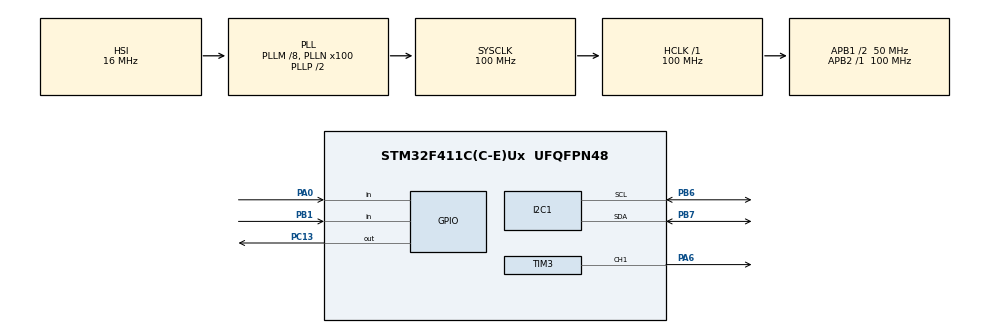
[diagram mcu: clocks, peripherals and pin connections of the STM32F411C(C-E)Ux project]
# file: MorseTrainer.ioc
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I2C1.I2C_Mode=I2C_Fast
Mcu.Family=STM32F4
Mcu.Name=STM32F411C(C-E)Ux
Mcu.Package=UFQFPN48
NVIC.PriorityGroup=NVIC_PRIORITYGROUP_4
NVIC.TIM2_IRQn=true\:0\:0\:false\:false\:true\:true\:true\:true
PA0-WKUP.GPIO_PuPd=GPIO_PULLUP
PA0-WKUP.Signal=GPIO_Input
PA13.Mode=Serial_Wire
PA13.Signal=SYS_JTMS-SWDIO
PA14.Mode=Serial_Wire
PA14.Signal=SYS_JTCK-SWCLK
PA6.Signal=S_TIM3_CH1
PB1.GPIO_PuPd=GPIO_PULLDOWN
PB1.Signal=GPIO_Input
PB6.Mode=I2C
PB6.Signal=I2C1_SCL
PB7.Mode=I2C
PB7.Signal=I2C1_SDA
PC13-ANTI_TAMP.Signal=GPIO_Output
PH0\ -\ OSC_IN.Mode=HSE-External-Oscillator
PH0\ -\ OSC_IN.Signal=RCC_OSC_IN
PH1\ -\ OSC_OUT.Mode=HSE-External-Oscillator
PH1\ -\ OSC_OUT.Signal=RCC_OSC_OUT
ProjectManager.HeapSize=0x200
ProjectManager.StackSize=0x400
ProjectManager.TargetToolchain=STM32CubeIDE
RCC.48MHZClocksFreq_Value=50000000
RCC.AHBFreq_Value=100000000
RCC.APB1CLKDivider=RCC_HCLK_DIV2
RCC.APB1Freq_Value=50000000
RCC.APB1TimFreq_Value=100000000
RCC.APB2Freq_Value=100000000
RCC.APB2TimFreq_Value=100000000
RCC.CortexFreq_Value=100000000
RCC.HCLKFreq_Value=100000000
RCC.HSE_VALUE=25000000
RCC.HSI_VALUE=16000000
RCC.LSE_VALUE=32768
RCC.PLLM=8
RCC.PLLN=100
RCC.SYSCLKFreq_VALUE=100000000
RCC.SYSCLKSource=RCC_SYSCLKSOURCE_PLLCLK
RCC.VCOOutputFreq_Value=200000000
SH.S_TIM3_CH1.0=TIM3_CH1,PWM Generation1 CH1
TIM2.Period=999
TIM2.Prescaler=99
TIM3.AutoReloadPreload=TIM_AUTORELOAD_PRELOAD_ENABLE
TIM3.Channel-PWM\ Generation1\ CH1=TIM_CHANNEL_1
TIM3.Period=1427
TIM3.Prescaler=99
TIM3.Pulse-PWM\ Generation1\ CH1=714
VP_TIM2_VS_ClockSourceINT.Mode=Internal
VP_TIM3_VS_ClockSourceINT.Mode=Internal
board=custom

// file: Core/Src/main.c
/* USER CODE BEGIN Header */
/**
  ******************************************************************************
  * @file           : main.c
  * @brief          : Main program body
  ******************************************************************************
  * @attention
  *
  * Copyright (c) 2026 STMicroelectronics.
  * All rights reserved.
  *
  * This software is licensed under terms that can be found in the LICENSE file
  * in the root directory of this software component.
  * If no LICENSE file comes with this software, it is provided AS-IS.
  *
  ******************************************************************************
  */
/* USER CODE END Header */
#include "main.h"

/* USER CODE BEGIN Includes */
#include "SSD1306.h"
#include "MORSE.h"
#include <stdio.h>
#include <stdlib.h>
#include <string.h>
/* USER CODE END Includes */

/* USER CODE BEGIN PTD */
typedef enum { MENU, APRENDER, IDENTIFICAR, GRUPOS, LIBRE, ESTADISTICAS } Modo;
typedef enum { SONANDO, RESPUESTA, PAUSA } Paso;
typedef enum
{
  OPC_APRENDER, OPC_IDENTIFICAR, OPC_GRUPOS, OPC_REPASO, OPC_LIBRE, OPC_ESTADISTICAS, OPC_NIVEL, OPC_WPM, OPC_FARNSWORTH,
  OPC_TONO, OPC_PATRON, OPCIONES
} Opcion;

typedef struct
{
  uint8_t estable;   /* 1 = pulsado */
  uint8_t cuenta;    /* Muestras seguidas distintas de 'estable' */
} Entrada;
/* USER CODE END PTD */

/* USER CODE BEGIN PD */
#define KEY_PORT        GPIOB
#define KEY_PIN         GPIO_PIN_1      /* Manipulador a 3V3 con pull-down, activo en alto */
#define MENU_PORT       GPIOA
#define MENU_PIN        GPIO_PIN_0      /* Botón KEY de la Black Pill, a GND con pull-up, activo en bajo */
#define LED_PORT        GPIOC
#define LED_PIN         GPIO_PIN_13     /* LED de la Black Pill, activo en bajo */
#define ANTIRREBOTE_MS  5U              /* Muestras iguales seguidas para aceptar un cambio */
#define PRUEBA_TONO_MS  300U            /* Bip de arranque para comprobar la frecuencia */
/* Ajustables desde el menú; estos son los valores al encender. Cada letra manipulada
   sobre la opción avanza un paso y al pasar del máximo vuelve al mínimo. */
#define WPM_CARACTER    18U             /* Velocidad de los símbolos: 12..30, de 2 en 2 */
#define WPM_EFECTIVO    8U              /* Farnsworth en el nivel 2 (llega a la de carácter en
                                           el 36): 4..carácter, de 2 en 2 */
#define TONO_HZ         700U            /* 400..1000 Hz, de 100 en 100 */
#define BIP_MS          60U             /* Bip de acierto, al doble de la frecuencia del tono */
#define PAUSA_MS        800U            /* Silencio antes del siguiente carácter */
#define LATENCIA_MAX_MS 2000U           /* Más hasta la primera pulsación = no reconocido */
#define ESPERA_MAX_MS   6000U           /* Sin pulsar en este tiempo = sin respuesta */
#define SESION_MS       (15UL * 60UL * 1000UL)  /* Duración recomendada de la sesión */
#define AVISO_MS        500U            /* Bip largo de fin de sesión */
#define GRUPO_LARGO     5U              /* Caracteres por grupo (práctica clásica de Koch) */
#define FILAS_MENU      6U              /* Opciones visibles; el resto se desplaza */
#define LIBRE_COLUMNAS  18U             /* Font_7x10 en 128 px */
#define LIBRE_FILAS     4U

/* USER CODE END PD */

I2C_HandleTypeDef hi2c1;

TIM_HandleTypeDef htim2;
TIM_HandleTypeDef htim3;

/* USER CODE BEGIN PV */
/* -- Avanzados en la ISR de TIM2; el bucle principal solo los toca con la IRQ parada -- */
static MORSE_Reproductor_t   reproductor;
static MORSE_Decodificador_t decodificador;
static volatile char       recibido = 0;    /* Último carácter decodificado; 0 = ya leído */
static volatile uint8_t    menu_pulsado = 0;  /* Se pulsó el botón de menú; 0 = ya leído */
static volatile uint16_t   bip_ms = 0;      /* Lo que queda del bip de acierto */
static volatile uint32_t   pulsado_en = 0;  /* HAL_GetTick() de la primera pulsación; 0 = ninguna */
static volatile uint16_t   tono_arr = (uint16_t)(1000000UL / TONO_HZ - 1U);  /* ARR del tono */

/* -- Solo bucle principal -- */
static MORSE_Tiempos_t tiempos;
static MORSE_KochProgreso_t koch;
static uint8_t  wpm_caracter = WPM_CARACTER;
static uint8_t  wpm_efectivo = WPM_EFECTIVO;  /* Nunca mayor que wpm_caracter */
static uint16_t tono_hz      = TONO_HZ;
static Modo     modo = MENU;
static Opcion   opcion = OPC_APRENDER;      /* Resaltada en el menú */
static uint8_t  mostrar_patron = 1;         /* Patrón al presentar y al fallar */
static Paso     paso;
static Paso     tras_sonar;                 /* RESPUESTA o PAUSA al acabar de sonar */
static uint32_t pausa_desde;
static char     actual;                     /* Carácter que se espera como respuesta */
static uint8_t  siguiente;                  /* Aprender: índice en MORSE_KochOrden del próximo */
static uint8_t  presentar;                  /* Identificar: presentar el recién desbloqueado */
static uint8_t  repaso;                     /* Identificar solo entre fallados y confundidos */
static char     repasar[MORSE_SESION_REPASO_MAX + 1U];  /* Repaso: caracteres de la última elección */
static char     sonido[GRUPO_LARGO + 1U];   /* Lo que suena; debe vivir hasta que acabe.
                                               En Grupos es también el grupo que se espera */
static char     respuesta[GRUPO_LARGO + 1U];  /* Grupos: lo manipulado hasta ahora */
static uint8_t  n_respuesta;
static uint32_t ultima_en;                  /* Grupos: última letra (o fin de la reproducción) */
static char     libre[LIBRE_COLUMNAS * LIBRE_FILAS + 1U];  /* Libre: texto decodificado */
static char     tu[12];                     /* "Tu: " + patrón manipulado, o "N/5 bien" */
static uint32_t escucha_desde;              /* Fin de la reproducción: origen de la latencia */
static MORSE_Sesion_t   sesion;
static uint32_t sesion_desde;               /* Primera lección; 0 = sin empezar */
static uint8_t  sesion_avisada;
static uint8_t  fin_sesion;                 /* Estadísticas abiertas por el temporizador */
/* -- Pantalla -- */
static char        grande;                  /* Carácter en grande; 0 = ninguno */
static uint8_t     ver_patron;
static const char *estado = "";             /* Línea inferior */
static const char *aviso  = NULL;           /* Indicación de ritmo de la última respuesta */
static uint8_t     redibujar = 1;

/* USER CODE END PV */

void SystemClock_Config(void);
static void MX_GPIO_Init(void);
static void MX_I2C1_Init(void);
static void MX_TIM2_Init(void);
static void MX_TIM3_Init(void);
/* USER CODE BEGIN PFP */
static void Tono(uint16_t arr);
static uint8_t Antirrebote(Entrada *e, uint8_t crudo);
static void AjustarVelocidad(void);
static void Reiniciar(const char *texto);
static void Sonar(Paso despues);
static void Escuchar(void);
static void Pausa(void);
static void Preguntar(void);
static void Responder(char c);
static void Copiar(char c);
static void Anotar(char c);
static void ElegirOpcion(void);
static void DibujarEstadisticas(void);
static void Dibujar(void);

/* USER CODE END PFP */

int main(void)
{

  /* MCU Configuration--------------------------------------------------------*/

  /* Reset of all peripherals, Initializes the Flash interface and the Systick. */
  HAL_Init();

  /* Configure the system clock */
  SystemClock_Config();

  /* Initialize all configured peripherals */
  MX_GPIO_Init();
  MX_I2C1_Init();
  MX_TIM2_Init();
  MX_TIM3_Init();
  /* USER CODE BEGIN 2 */
  HAL_GPIO_WritePin(LED_PORT, LED_PIN, GPIO_PIN_SET);

  /* -- PWM siempre en marcha; el tono se abre y cierra con el CCR -- */
  Tono(0);
  if (HAL_TIM_PWM_Start(&htim3, TIM_CHANNEL_1) != HAL_OK)
  {
    Error_Handler();
  }

  if (SSD1306_Init(&hi2c1, 128, 64) != SSD1306_OK)
  {
    Error_Handler();
  }

  /* -- Bip de arranque: medir aquí la frecuencia (700 Hz esperados) -- */
  Tono(tono_arr);
  HAL_Delay(PRUEBA_TONO_MS);
  Tono(0);

  /* -- Se inicializan antes del tick, así no hay carrera con la ISR --
     Se ignora el estado: solo falla con punteros NULL y estos son estáticos */
  (void)MORSE_KochInit(&koch, MORSE_KOCH_MINIMO);
  AjustarVelocidad();
  (void)MORSE_DecodInit(&decodificador, tiempos);
  (void)MORSE_Reproducir(&reproductor, "", tiempos);
  (void)MORSE_SesionInit(&sesion);

  /* -- Tick de 1 ms: antirrebote, tono, reproductor y decodificador -- */
  if (HAL_TIM_Base_Start_IT(&htim2) != HAL_OK)
  {
    Error_Handler();
  }
  /* USER CODE END 2 */

  /* Infinite loop */
  while (1)
  {

    /* USER CODE BEGIN 3 */
    /* -- Entre dos caracteres hay ≥ 2 puntos de silencio: sobra tiempo para leer -- */
    char c = recibido;
    if (c != 0)
    {
      recibido = 0;
    }
    uint8_t boton = menu_pulsado;
    if (boton)
    {
      menu_pulsado = 0;
    }

    if (modo == MENU)
    {
      if (boton)                            /* Botón: siguiente opción */
      {
        opcion = (Opcion)((opcion + 1U) % OPCIONES);
        redibujar = 1;
      }
      else if (c != 0 && c != ' ')          /* Cualquier letra manipulada: elegir */
      {
        ElegirOpcion();
      }
    }
    else if (boton)                         /* Botón fuera del menú: volver */
    {
      modo       = MENU;
      fin_sesion = 0;
      Reiniciar("");                        /* Corta lo que esté sonando */
      redibujar = 1;
    }
    else if (modo == ESTADISTICAS)
    {
      /* Pantalla fija: solo se sale con el botón */
    }
    else if (modo == LIBRE)
    {
      if (c != 0)
      {
        Anotar(c);
      }
    }
    else if (paso == SONANDO)
    {
      if (!MORSE_Reproduciendo(&reproductor))
      {
        if (tras_sonar == PAUSA)
        {
          Pausa();
        }
        else
        {
          Escuchar();
        }
      }
    }
    else if (paso == RESPUESTA)
    {
      if (modo == GRUPOS)
      {
        Copiar(c);
      }
      else if (c != 0 && c != ' ')
      {
        Responder(c);
      }
      else if (modo == IDENTIFICAR && pulsado_en == 0U &&
               HAL_GetTick() - escucha_desde >= ESPERA_MAX_MS)
      {
        Responder(0);                       /* Sin respuesta */
      }
    }
    else if (HAL_GetTick() - pausa_desde >= PAUSA_MS)
    {
      Preguntar();
    }

    /* -- Solo se redibuja al cambiar: UpdateScreen bloquea ~25 ms -- */
    if (redibujar)
    {
      redibujar = 0;
      Dibujar();
    }
  }
  /* USER CODE END 3 */
}

void SystemClock_Config(void)
{
  RCC_OscInitTypeDef RCC_OscInitStruct = {0};
  RCC_ClkInitTypeDef RCC_ClkInitStruct = {0};

  /** Configure the main internal regulator output voltage
  */
  __HAL_RCC_PWR_CLK_ENABLE();
  __HAL_PWR_VOLTAGESCALING_CONFIG(PWR_REGULATOR_VOLTAGE_SCALE1);

  /** Initializes the RCC Oscillators according to the specified parameters
  * in the RCC_OscInitTypeDef structure.
  */
  RCC_OscInitStruct.OscillatorType = RCC_OSCILLATORTYPE_HSI;
  RCC_OscInitStruct.HSIState = RCC_HSI_ON;
  RCC_OscInitStruct.HSICalibrationValue = RCC_HSICALIBRATION_DEFAULT;
  RCC_OscInitStruct.PLL.PLLState = RCC_PLL_ON;
  RCC_OscInitStruct.PLL.PLLSource = RCC_PLLSOURCE_HSI;
  RCC_OscInitStruct.PLL.PLLM = 8;
  RCC_OscInitStruct.PLL.PLLN = 100;
  RCC_OscInitStruct.PLL.PLLP = RCC_PLLP_DIV2;
  RCC_OscInitStruct.PLL.PLLQ = 4;
  if (HAL_RCC_OscConfig(&RCC_OscInitStruct) != HAL_OK)
  {
    Error_Handler();
  }

  /** Initializes the CPU, AHB and APB buses clocks
  */
  RCC_ClkInitStruct.ClockType = RCC_CLOCKTYPE_HCLK|RCC_CLOCKTYPE_SYSCLK
                              |RCC_CLOCKTYPE_PCLK1|RCC_CLOCKTYPE_PCLK2;
  RCC_ClkInitStruct.SYSCLKSource = RCC_SYSCLKSOURCE_PLLCLK;
  RCC_ClkInitStruct.AHBCLKDivider = RCC_SYSCLK_DIV1;
  RCC_ClkInitStruct.APB1CLKDivider = RCC_HCLK_DIV2;
  RCC_ClkInitStruct.APB2CLKDivider = RCC_HCLK_DIV1;

  if (HAL_RCC_ClockConfig(&RCC_ClkInitStruct, FLASH_LATENCY_3) != HAL_OK)
  {
    Error_Handler();
  }
}

static void MX_I2C1_Init(void)
{

  hi2c1.Instance = I2C1;
  hi2c1.Init.ClockSpeed = 400000;
  hi2c1.Init.DutyCycle = I2C_DUTYCYCLE_2;
  hi2c1.Init.OwnAddress1 = 0;
  hi2c1.Init.AddressingMode = I2C_ADDRESSINGMODE_7BIT;
  hi2c1.Init.DualAddressMode = I2C_DUALADDRESS_DISABLE;
  hi2c1.Init.OwnAddress2 = 0;
  hi2c1.Init.GeneralCallMode = I2C_GENERALCALL_DISABLE;
  hi2c1.Init.NoStretchMode = I2C_NOSTRETCH_DISABLE;
  if (HAL_I2C_Init(&hi2c1) != HAL_OK)
  {
    Error_Handler();
  }

}

static void MX_TIM2_Init(void)
{

  TIM_ClockConfigTypeDef sClockSourceConfig = {0};
  TIM_MasterConfigTypeDef sMasterConfig = {0};

  htim2.Instance = TIM2;
  htim2.Init.Prescaler = 99;
  htim2.Init.CounterMode = TIM_COUNTERMODE_UP;
  htim2.Init.Period = 999;
  htim2.Init.ClockDivision = TIM_CLOCKDIVISION_DIV1;
  htim2.Init.AutoReloadPreload = TIM_AUTORELOAD_PRELOAD_DISABLE;
  if (HAL_TIM_Base_Init(&htim2) != HAL_OK)
  {
    Error_Handler();
  }
  sClockSourceConfig.ClockSource = TIM_CLOCKSOURCE_INTERNAL;
  if (HAL_TIM_ConfigClockSource(&htim2, &sClockSourceConfig) != HAL_OK)
  {
    Error_Handler();
  }
  sMasterConfig.MasterOutputTrigger = TIM_TRGO_RESET;
  sMasterConfig.MasterSlaveMode = TIM_MASTERSLAVEMODE_DISABLE;
  if (HAL_TIMEx_MasterConfigSynchronization(&htim2, &sMasterConfig) != HAL_OK)
  {
    Error_Handler();
  }

}

static void MX_TIM3_Init(void)
{

  TIM_ClockConfigTypeDef sClockSourceConfig = {0};
  TIM_MasterConfigTypeDef sMasterConfig = {0};
  TIM_OC_InitTypeDef sConfigOC = {0};

  htim3.Instance = TIM3;
  htim3.Init.Prescaler = 99;
  htim3.Init.CounterMode = TIM_COUNTERMODE_UP;
  htim3.Init.Period = 1427;
  htim3.Init.ClockDivision = TIM_CLOCKDIVISION_DIV1;
  htim3.Init.AutoReloadPreload = TIM_AUTORELOAD_PRELOAD_ENABLE;
  if (HAL_TIM_Base_Init(&htim3) != HAL_OK)
  {
    Error_Handler();
  }
  sClockSourceConfig.ClockSource = TIM_CLOCKSOURCE_INTERNAL;
  if (HAL_TIM_ConfigClockSource(&htim3, &sClockSourceConfig) != HAL_OK)
  {
    Error_Handler();
  }
  if (HAL_TIM_PWM_Init(&htim3) != HAL_OK)
  {
    Error_Handler();
  }
  sMasterConfig.MasterOutputTrigger = TIM_TRGO_RESET;
  sMasterConfig.MasterSlaveMode = TIM_MASTERSLAVEMODE_DISABLE;
  if (HAL_TIMEx_MasterConfigSynchronization(&htim3, &sMasterConfig) != HAL_OK)
  {
    Error_Handler();
  }
  sConfigOC.OCMode = TIM_OCMODE_PWM1;
  sConfigOC.Pulse = 714;
  sConfigOC.OCPolarity = TIM_OCPOLARITY_HIGH;
  sConfigOC.OCFastMode = TIM_OCFAST_DISABLE;
  if (HAL_TIM_PWM_ConfigChannel(&htim3, &sConfigOC, TIM_CHANNEL_1) != HAL_OK)
  {
    Error_Handler();
  }
  HAL_TIM_MspPostInit(&htim3);

}

static void MX_GPIO_Init(void)
{
  GPIO_InitTypeDef GPIO_InitStruct = {0};

  /* GPIO Ports Clock Enable */
  __HAL_RCC_GPIOC_CLK_ENABLE();
  __HAL_RCC_GPIOH_CLK_ENABLE();
  __HAL_RCC_GPIOA_CLK_ENABLE();
  __HAL_RCC_GPIOB_CLK_ENABLE();

  /*Configure GPIO pin Output Level */
  HAL_GPIO_WritePin(GPIOC, GPIO_PIN_13, GPIO_PIN_RESET);

  /*Configure GPIO pin : PC13 */
  GPIO_InitStruct.Pin = GPIO_PIN_13;
  GPIO_InitStruct.Mode = GPIO_MODE_OUTPUT_PP;
  GPIO_InitStruct.Pull = GPIO_NOPULL;
  GPIO_InitStruct.Speed = GPIO_SPEED_FREQ_LOW;
  HAL_GPIO_Init(GPIOC, &GPIO_InitStruct);

  /*Configure GPIO pin : PA0 */
  GPIO_InitStruct.Pin = GPIO_PIN_0;
  GPIO_InitStruct.Mode = GPIO_MODE_INPUT;
  GPIO_InitStruct.Pull = GPIO_PULLUP;
  HAL_GPIO_Init(GPIOA, &GPIO_InitStruct);

  /*Configure GPIO pin : PB1 */
  GPIO_InitStruct.Pin = GPIO_PIN_1;
  GPIO_InitStruct.Mode = GPIO_MODE_INPUT;
  GPIO_InitStruct.Pull = GPIO_PULLDOWN;
  HAL_GPIO_Init(GPIOB, &GPIO_InitStruct);

}

/* USER CODE BEGIN 4 */
/**
 * @brief Tono del buzzer: arr = 0 lo silencia; si no, suena a f = 1 MHz / (arr + 1)
 *        con ciclo del 50 %. ARR y CCR tienen precarga, así que el cambio entra al
 *        acabar el periodo en curso, sin cortes. Seguro desde la ISR.
 *        La frecuencia del tono es tono_arr (ajustable en el menú): ARR = 1 000 000 / f - 1.
 *        htim3.Init.Period (.ioc) es solo la configuración inicial del timer.
 */
static void Tono(uint16_t arr)
{
  if (arr != 0U)
  {
    TIM3->ARR = arr;
  }
  __HAL_TIM_SET_COMPARE(&htim3, TIM_CHANNEL_1, (arr + 1U) / 2U);
}

/**
 * @brief Antirrebote: un cambio se acepta tras ANTIRREBOTE_MS muestras seguidas
 *        distintas del estado estable. El retardo es igual al pulsar y al soltar,
 *        así que las duraciones que ve el decodificador no se ven afectadas.
 * @return El estado estable (1 = pulsado).
 */
static uint8_t Antirrebote(Entrada *e, uint8_t crudo)
{
  if (crudo == e->estable)
  {
    e->cuenta = 0;
  }
  else if (++e->cuenta >= ANTIRREBOTE_MS)
  {
    e->cuenta  = 0;
    e->estable = crudo;
  }
  return e->estable;
}

/**
 * @brief ISR de 1 ms (TIM2): antirrebote del manipulador y del botón de menú,
 *        reproductor, bip de acierto y decodificador.
 *        Suena el tono local del manipulador o el del reproductor (el LED lo sigue);
 *        el bip solo se oye si no suena ninguno de los dos.
 */
void HAL_TIM_PeriodElapsedCallback(TIM_HandleTypeDef *htim)
{
  static Entrada manipulador = {0};
  static Entrada boton       = {0};

  if (htim->Instance != TIM2)
  {
    return;
  }

  uint8_t antes   = manipulador.estable;
  uint8_t pulsado = Antirrebote(&manipulador, HAL_GPIO_ReadPin(KEY_PORT, KEY_PIN) == GPIO_PIN_SET);
  if (pulsado && !antes && pulsado_en == 0U)
  {
    pulsado_en = HAL_GetTick();             /* Retrasado ANTIRREBOTE_MS: despreciable */
  }
  antes = boton.estable;
  if (Antirrebote(&boton, HAL_GPIO_ReadPin(MENU_PORT, MENU_PIN) == GPIO_PIN_RESET) && !antes)
  {
    menu_pulsado = 1;
  }

  uint8_t morse = MORSE_ReprodTick(&reproductor) | pulsado;
  uint8_t bip   = 0;
  if (bip_ms != 0U)
  {
    bip_ms--;
    bip = 1;
  }
  uint16_t arr = tono_arr;
  Tono(morse ? arr : bip ? (uint16_t)(arr / 2U) : 0U);
  HAL_GPIO_WritePin(LED_PORT, LED_PIN, morse ? GPIO_PIN_RESET : GPIO_PIN_SET);

  char c = MORSE_DecodTick(&decodificador, pulsado);
  if (c != 0)
  {
    recibido = c;
  }
}

/* ============================ Lecciones ============================ */

/**
 * @brief Farnsworth decreciente: los silencios entre caracteres se acortan con el
 *        nivel hasta igualar la velocidad de carácter. Lo que esté sonando sigue
 *        con los tiempos anteriores (el reproductor guarda su copia).
 */
static void AjustarVelocidad(void)
{
  tiempos = MORSE_CalcularTiempos(wpm_caracter,
                                  MORSE_KochWpmEfectivo(koch.nivel, wpm_efectivo, wpm_caracter));
}

/**
 * @brief Empieza a reproducir un texto ("" = silencio) y vacía el decodificador:
 *        lo manipulado antes no cuenta como respuesta. El punto que el decodificador
 *        ha aprendido del usuario se conserva.
 */
static void Reiniciar(const char *texto)
{
  HAL_NVIC_DisableIRQ(TIM2_IRQn);
  (void)MORSE_Reproducir(&reproductor, texto, tiempos);   /* texto nunca es NULL aquí */
  (void)MORSE_DecodVaciar(&decodificador);
  recibido   = 0;
  pulsado_en = 0;
  HAL_NVIC_EnableIRQ(TIM2_IRQn);
}

/** @brief Reproduce 'sonido'; al acabar pasa a 'despues' (RESPUESTA o PAUSA). */
static void Sonar(Paso despues)
{
  Reiniciar(sonido);
  paso       = SONANDO;
  tras_sonar = despues;
  redibujar  = 1;
}

/** @brief Espera la respuesta. El patrón se oculta: se responde de oído. */
static void Escuchar(void)
{
  escucha_desde = HAL_GetTick();          /* Antes de Reiniciar: pulsado_en >= escucha_desde */
  ultima_en     = escucha_desde;
  Reiniciar("");
  paso       = RESPUESTA;
  ver_patron = 0;
  estado     = "Manipula";
  redibujar  = 1;
}

static void Pausa(void)
{
  paso        = PAUSA;
  pausa_desde = HAL_GetTick();
}

/**
 * @brief Presenta (×3, con patrón) o pregunta (×1, sin mostrarlo) el siguiente carácter.
 *        Cumplido el tiempo de sesión, avisa una vez y muestra las estadísticas.
 */
static void Preguntar(void)
{
  if (!sesion_avisada && HAL_GetTick() - sesion_desde >= SESION_MS)
  {
    sesion_avisada = 1;
    fin_sesion     = 1;
    bip_ms         = AVISO_MS;
    modo           = ESTADISTICAS;
    redibujar      = 1;
    return;
  }

  aviso = NULL;
  if (modo == APRENDER || presentar)
  {
    actual = MORSE_KochOrden[(modo == APRENDER) ? siguiente : koch.nivel - 1U];
    memset(sonido, actual, 3);
    sonido[3]  = '\0';
    grande     = actual;
    ver_patron = mostrar_patron;
    estado     = presentar ? "Nuevo caracter" : "Escucha";
    Sonar(presentar ? PAUSA : RESPUESTA);
    presentar = 0;
    return;
  }

  if (modo == GRUPOS)                     /* Letras seguidas, con el espaciado Farnsworth */
  {
    for (uint8_t i = 0; i < GRUPO_LARGO; i++)
    {
      sonido[i] = MORSE_SesionElegir(&sesion, koch.nivel, NULL, (uint32_t)rand());
    }
    sonido[GRUPO_LARGO] = '\0';
    memset(respuesta, 0, sizeof respuesta);
    n_respuesta = 0;
  }
  else
  {
    if (repaso)                           /* Se recalcula con cada respuesta */
    {
      MORSE_SesionRepaso(&sesion, koch.nivel, repasar);
    }
    actual    = MORSE_SesionElegir(&sesion, koch.nivel, repaso ? repasar : NULL, (uint32_t)rand());
    sonido[0] = actual;
    sonido[1] = '\0';
  }
  grande     = 0;
  ver_patron = 0;
  estado     = "Escucha";
  Sonar(RESPUESTA);
}

/**
 * @brief Evalúa la respuesta (c = 0: sin respuesta).
 *        Reconocido (correcto y, en Identificar, primera pulsación antes de
 *        LATENCIA_MAX_MS): bip y siguiente. Correcto pero lento: cuenta como fallo,
 *        sin bip. Fallo: se muestra el correcto y suenan el correcto y lo manipulado;
 *        en Aprender se repite, en Identificar se sigue.
 */
static void Responder(char c)
{
  uint32_t pulsado  = pulsado_en;
  uint32_t espera   = pulsado - escucha_desde;
  uint16_t latencia = (pulsado == 0U) ? MORSE_SESION_SIN_LATENCIA
                    : (espera < MORSE_SESION_SIN_LATENCIA) ? (uint16_t)espera : MORSE_SESION_SIN_LATENCIA - 1U;
  uint8_t  correcto   = (c == actual);
  uint8_t  reconocido = correcto && (modo == APRENDER || latencia <= LATENCIA_MAX_MS);
  grande = actual;

  /* Copia con la IRQ parada: si ya empezó otra letra, la ISR pisaría las duraciones */
  HAL_NVIC_DisableIRQ(TIM2_IRQn);
  MORSE_Decodificador_t manip = decodificador;
  HAL_NVIC_EnableIRQ(TIM2_IRQn);
  aviso = (c != 0) ? MORSE_EvaluarManip(&manip, actual, koch.nivel) : NULL;

  if (modo == IDENTIFICAR)
  {
    (void)MORSE_SesionRegistrar(&sesion, actual, c, reconocido, latencia);  /* actual sale de MORSE_KochOrden */
    /* El repaso no cuenta en la progresión: su muestra está sesgada hacia lo difícil */
    presentar = repaso ? 0U : MORSE_KochRegistrar(&koch, reconocido);
    if (presentar)
    {
      AjustarVelocidad();
    }
  }

  if (correcto)
  {
    if (reconocido)
    {
      bip_ms = BIP_MS;
      if (modo == APRENDER)
      {
        siguiente = (uint8_t)((siguiente + 1U) % koch.nivel);
      }
    }
    ver_patron = 0;
    estado     = reconocido ? "Bien" : "Bien, pero lento";
    redibujar  = 1;
    Pausa();
    return;
  }

  snprintf(tu, sizeof tu, "Tu: %s", manip.patron);
  ver_patron = mostrar_patron;
  estado     = (c == 0) ? "Sin respuesta" : mostrar_patron ? tu : "Fallo";
  /* "K M": el correcto, pausa de palabra y lo manipulado ('?' y 0 no suenan) */
  sonido[0] = actual;
  sonido[1] = ' ';
  sonido[2] = c;
  sonido[3] = '\0';
  Sonar((modo == APRENDER) ? RESPUESTA : PAUSA);
}

/**
 * @brief Grupos: acumula lo manipulado y corrige al completar el grupo o tras
 *        ESPERA_MAX_MS sin letras nuevas. Cada carácter cuenta en la progresión Koch
 *        y en las estadísticas (sin latencia). Si todo está bien, bip; si no, se ven
 *        el grupo oído y lo manipulado y el grupo vuelve a sonar.
 *        Un carácter no reconocido se marca con 6 o más puntos ('?'), así el resto
 *        no se desplaza.
 */
static void Copiar(char c)
{
  if (c != 0 && c != ' ')
  {
    respuesta[n_respuesta++] = c;
    ultima_en = HAL_GetTick();
    redibujar = 1;
    if (n_respuesta < GRUPO_LARGO)
    {
      return;
    }
  }
  else if (HAL_GetTick() - ultima_en < ESPERA_MAX_MS)
  {
    return;
  }

  /* ponytail: comparación posición a posición; una letra saltada desplaza el resto.
     Por eso las confusiones solo se anotan con el grupo completo. Alinear si molesta. */
  uint8_t bien = 0;
  for (uint8_t i = 0; i < GRUPO_LARGO; i++)
  {
    uint8_t ok = (respuesta[i] == sonido[i]);   /* Lo que falta es '\0': fallo */
    bien += ok;
    (void)MORSE_SesionRegistrar(&sesion, sonido[i], (n_respuesta == GRUPO_LARGO) ? respuesta[i] : 0,
                                ok, MORSE_SESION_SIN_LATENCIA);  /* sonido sale de MORSE_KochOrden */
    presentar |= MORSE_KochRegistrar(&koch, ok);
  }
  if (presentar)
  {
    AjustarVelocidad();
  }

  snprintf(tu, sizeof tu, "%u/%u bien", bien, GRUPO_LARGO);
  estado     = tu;
  ver_patron = 1;                           /* En Grupos: mostrar el grupo oído */
  redibujar  = 1;
  if (bien == GRUPO_LARGO)
  {
    bip_ms = BIP_MS;
    Pausa();
  }
  else
  {
    Sonar(PAUSA);                           /* El grupo otra vez, ya viéndolo */
  }
}

/**
 * @brief Libre: añade lo decodificado al texto; al llenarse las LIBRE_FILAS líneas,
 *        sube una. La línea inferior muestra el último carácter y lo manipulado.
 */
static void Anotar(char c)
{
  size_t n = strlen(libre);
  if (c == ' ' && (n == 0U || libre[n - 1U] == ' '))
  {
    return;                                 /* Fin de la palabra con la que se eligió */
  }
  if (n == LIBRE_COLUMNAS * LIBRE_FILAS)
  {
    n -= LIBRE_COLUMNAS;
    memmove(libre, libre + LIBRE_COLUMNAS, n);
  }
  libre[n]      = c;
  libre[n + 1U] = '\0';

  if (c != ' ')
  {
    char patron[sizeof decodificador.patron];
    HAL_NVIC_DisableIRQ(TIM2_IRQn);
    memcpy(patron, decodificador.patron, sizeof patron);
    HAL_NVIC_EnableIRQ(TIM2_IRQn);
    snprintf(tu, sizeof tu, "%c %s", c, patron);
    estado = tu;
  }
  redibujar = 1;
}

static void ElegirOpcion(void)
{
  switch (opcion)
  {
    case OPC_APRENDER:
    case OPC_IDENTIFICAR:
    case OPC_GRUPOS:
    case OPC_REPASO:
      srand(HAL_GetTick());                 /* El momento de la pulsación es azar suficiente */
      if (sesion_desde == 0U)
      {
        sesion_desde = HAL_GetTick();       /* La sesión empieza con la primera lección */
      }
      modo      = (opcion == OPC_APRENDER) ? APRENDER : (opcion == OPC_GRUPOS) ? GRUPOS
                                                                  : IDENTIFICAR;
      repaso    = (opcion == OPC_REPASO);
      siguiente = (uint8_t)(koch.nivel - 1U);   /* Aprender empieza por el más nuevo */
      presentar = 0;
      Preguntar();
      break;
    case OPC_LIBRE:
      modo     = LIBRE;
      libre[0] = '\0';
      /* Fin de palabra a 5 puntos del usuario (entre 3 y 7) en vez del umbral Farnsworth
         de la reproducción. Solo Libre usa los espacios: no hace falta restaurarlo. */
      decodificador.palabra_ms = 0;
      estado   = "Manipula";
      break;
    case OPC_ESTADISTICAS:
      modo = ESTADISTICAS;
      break;
    case OPC_NIVEL:                         /* Sustituye a la persistencia: se elige al encender */
      (void)MORSE_KochInit(&koch, (koch.nivel >= MORSE_KOCH_TOTAL) ? MORSE_KOCH_MINIMO : (uint8_t)(koch.nivel + 1U));
      AjustarVelocidad();
      break;
    case OPC_WPM:
      wpm_caracter = (wpm_caracter >= 30U) ? 12U : (uint8_t)(wpm_caracter + 2U);
      if (wpm_efectivo > wpm_caracter)
      {
        wpm_efectivo = wpm_caracter;
      }
      AjustarVelocidad();
      break;
    case OPC_FARNSWORTH:                    /* Igual a la de carácter = sin Farnsworth */
      wpm_efectivo = (wpm_efectivo >= wpm_caracter) ? 4U
                   : (wpm_efectivo + 2U > wpm_caracter) ? wpm_caracter
                   : (uint8_t)(wpm_efectivo + 2U);
      AjustarVelocidad();
      break;
    case OPC_TONO:
      tono_hz  = (tono_hz >= 1000U) ? 400U : (uint16_t)(tono_hz + 100U);
      tono_arr = (uint16_t)(1000000UL / tono_hz - 1U);
      Reiniciar("T");                       /* Una raya para oír el tono nuevo */
      break;
    default:
      mostrar_patron = !mostrar_patron;
      break;
  }
  redibujar = 1;
}

/** @brief Resumen de la sesión (cuentan Identificar, Repaso y Grupos). */
static void DibujarEstadisticas(void)
{
  char linea[20];
  uint32_t intentos = 0;
  uint32_t aciertos = 0;
  for (uint8_t i = 0; i < MORSE_KOCH_TOTAL; i++)
  {
    intentos += sesion.intentos[i];
    aciertos += sesion.aciertos[i];
  }
  uint32_t minutos = (sesion_desde != 0U) ? (HAL_GetTick() - sesion_desde) / 60000U : 0U;

  snprintf(linea, sizeof linea, fin_sesion ? "Fin: %lu min" : "Sesion %lu min",
           (unsigned long)minutos);
  SSD1306_GotoXY(0, 0);
  SSD1306_Puts(linea, &Font_7x10, SSD1306_COLOR_WHITE);

  snprintf(linea, sizeof linea, "Bien %lu/%lu %lu%%", (unsigned long)aciertos,
           (unsigned long)intentos, (unsigned long)(intentos ? 100U * aciertos / intentos : 0U));
  SSD1306_GotoXY(0, 10);
  SSD1306_Puts(linea, &Font_7x10, SSD1306_COLOR_WHITE);

  if (sesion.latencias != 0U)
  {
    snprintf(linea, sizeof linea, "Latencia %lu ms",
             (unsigned long)(sesion.latencia_total_ms / sesion.latencias));
  }
  else
  {
    snprintf(linea, sizeof linea, "Latencia -");
  }
  SSD1306_GotoXY(0, 20);
  SSD1306_Puts(linea, &Font_7x10, SSD1306_COLOR_WHITE);

  char    fallados[4];
  uint8_t n     = MORSE_SesionMasFallados(&sesion, fallados, 3);
  int     largo = snprintf(linea, sizeof linea, "Fallos");
  for (uint8_t i = 0; i < n; i++)
  {
    largo += snprintf(linea + largo, sizeof linea - (size_t)largo, " %c", fallados[i]);
  }
  SSD1306_GotoXY(0, 30);
  SSD1306_Puts(linea, &Font_7x10, SSD1306_COLOR_WHITE);

  char pares[7];
  n     = MORSE_SesionConfusiones(&sesion, pares, 3);
  largo = snprintf(linea, sizeof linea, "Conf");
  for (uint8_t i = 0; i < n; i++)           /* oído>respondido */
  {
    largo += snprintf(linea + largo, sizeof linea - (size_t)largo, " %c>%c",
                      pares[2 * i], pares[2 * i + 1]);
  }
  SSD1306_GotoXY(0, 40);
  SSD1306_Puts(linea, &Font_7x10, SSD1306_COLOR_WHITE);

  /* Velocidad a la que manipula el usuario, según el decodificador adaptativo */
  snprintf(linea, sizeof linea, "Tu %u WPM Menu=sal",
           (uint8_t)(1200U / decodificador.punto_ms));   /* ≤ 60: punto ≥ 20 ms */
  SSD1306_GotoXY(0, 52);
  SSD1306_Puts(linea, &Font_7x10, SSD1306_COLOR_WHITE);
}

static void Dibujar(void)
{
  char linea[22];                          /* 18 visibles; holgura para -Wformat-truncation */
  SSD1306_Fill(SSD1306_COLOR_BLACK);

  if (modo == MENU)
  {
    uint8_t primera = (opcion >= FILAS_MENU) ? (uint8_t)(opcion - FILAS_MENU + 1U) : 0U;
    for (uint8_t i = primera; i < OPCIONES && i < primera + FILAS_MENU; i++)
    {
      char marca = (i == opcion) ? '>' : ' ';
      switch (i)
      {
        case OPC_APRENDER:    snprintf(linea, sizeof linea, "%c Aprender", marca); break;
        case OPC_IDENTIFICAR: snprintf(linea, sizeof linea, "%c Identificar", marca); break;
        case OPC_GRUPOS:      snprintf(linea, sizeof linea, "%c Grupos de %u", marca, GRUPO_LARGO); break;
        case OPC_REPASO:      snprintf(linea, sizeof linea, "%c Repaso", marca); break;
        case OPC_LIBRE:       snprintf(linea, sizeof linea, "%c Libre", marca); break;
        case OPC_ESTADISTICAS: snprintf(linea, sizeof linea, "%c Estadisticas", marca); break;
        case OPC_NIVEL:
          snprintf(linea, sizeof linea, "%c Nivel %u (..%c)", marca, koch.nivel,
                   MORSE_KochOrden[koch.nivel - 1U]);
          break;
        case OPC_WPM:
          snprintf(linea, sizeof linea, "%c Velocidad %u WPM", marca, wpm_caracter);
          break;
        case OPC_FARNSWORTH:
          if (wpm_efectivo < wpm_caracter)
          {
            snprintf(linea, sizeof linea, "%c Farnsworth %u", marca, wpm_efectivo);
          }
          else
          {
            snprintf(linea, sizeof linea, "%c Farnsworth no", marca);
          }
          break;
        case OPC_TONO:
          snprintf(linea, sizeof linea, "%c Tono %u Hz", marca, tono_hz);
          break;
        default:
          snprintf(linea, sizeof linea, "%c Patron: %s", marca, mostrar_patron ? "si" : "no");
          break;
      }
      SSD1306_GotoXY(0, (uint16_t)((i - primera) * 9U));  /* FILAS_MENU + ayuda: filas de 9 px */
      SSD1306_Puts(linea, &Font_7x10, SSD1306_COLOR_WHITE);
    }
    SSD1306_GotoXY(0, 54);
    SSD1306_Puts("Menu=sig Tecla=ok", &Font_7x10, SSD1306_COLOR_WHITE);
  }
  else if (modo == ESTADISTICAS)
  {
    DibujarEstadisticas();
  }
  else if (modo == LIBRE)
  {
    snprintf(linea, sizeof linea, "Libre  Tu %u WPM", (uint8_t)(1200U / decodificador.punto_ms));
    SSD1306_GotoXY(0, 0);
    SSD1306_Puts(linea, &Font_7x10, SSD1306_COLOR_WHITE);
    for (uint8_t f = 0; f < LIBRE_FILAS; f++)
    {
      snprintf(linea, sizeof linea, "%.*s", (int)LIBRE_COLUMNAS,
               libre + (strnlen(libre, f * LIBRE_COLUMNAS)));
      SSD1306_GotoXY(0, (uint16_t)(12U + f * 10U));
      SSD1306_Puts(linea, &Font_7x10, SSD1306_COLOR_WHITE);
    }
    SSD1306_GotoXY(0, 52);
    SSD1306_Puts((char *)estado, &Font_7x10, SSD1306_COLOR_WHITE);
  }
  else
  {
    if (modo == APRENDER)
    {
      snprintf(linea, sizeof linea, "Aprender %u/%u WPM", wpm_caracter,
               MORSE_KochWpmEfectivo(koch.nivel, wpm_efectivo, wpm_caracter));
    }
    else if (repaso)                        /* Sin fallos aún: elige entre todos */
    {
      snprintf(linea, sizeof linea, "Repaso %s", repasar[0] ? repasar : "todos");
    }
    else
    {
      snprintf(linea, sizeof linea, "%s %u  %u/%u", (modo == GRUPOS) ? "Grupos" : "Nivel",
               koch.nivel, MORSE_KochAciertos(&koch), koch.intentos);
    }
    SSD1306_GotoXY(0, 0);
    SSD1306_Puts(linea, &Font_7x10, SSD1306_COLOR_WHITE);
    if (modo == GRUPOS && grande == 0)      /* grande != 0: presentación de uno nuevo */
    {
      if (ver_patron)                       /* Tras corregir: el grupo oído */
      {
        SSD1306_GotoXY(0, 13);
        SSD1306_Puts(sonido, &Font_11x18, SSD1306_COLOR_WHITE);
        SSD1306_GotoXY(66, 17);
        SSD1306_Puts("oido", &Font_7x10, SSD1306_COLOR_WHITE);
      }
      SSD1306_GotoXY(0, 33);
      SSD1306_Puts(respuesta, &Font_11x18, SSD1306_COLOR_WHITE);
      SSD1306_GotoXY(66, 37);
      SSD1306_Puts("tu", &Font_7x10, SSD1306_COLOR_WHITE);
    }
    else if (grande != 0)
    {
      SSD1306_GotoXY(8, 16);
      SSD1306_Putc(grande, &Font_16x26, SSD1306_COLOR_WHITE);
      const char *patron;
      if (ver_patron && MORSE_Patron(grande, &patron) == MORSE_OK)
      {
        SSD1306_GotoXY(40, 20);
        SSD1306_Puts((char *)patron, &Font_11x18, SSD1306_COLOR_WHITE);
      }
    }
    if (aviso != NULL)                      /* Línea libre bajo el carácter grande */
    {
      SSD1306_GotoXY(0, 42);
      SSD1306_Puts((char *)aviso, &Font_7x10, SSD1306_COLOR_WHITE);
    }
    SSD1306_GotoXY(0, 52);
    SSD1306_Puts((char *)estado, &Font_7x10, SSD1306_COLOR_WHITE);
  }

  if (SSD1306_UpdateScreen() != SSD1306_OK)
  {
    Error_Handler();
  }
}
/* USER CODE END 4 */

void Error_Handler(void)
{
  /* USER CODE BEGIN Error_Handler_Debug */
  /* User can add his own implementation to report the HAL error return state */
  __disable_irq();
  TIM3->CCR1 = 0;                           /* Silenciar el buzzer */
  while (1)
  {
    HAL_GPIO_TogglePin(LED_PORT, LED_PIN);  /* Parpadeo rápido = error */
    for (volatile uint32_t i = 0; i < 2000000U; i++) {}
  }
  /* USER CODE END Error_Handler_Debug */
}
